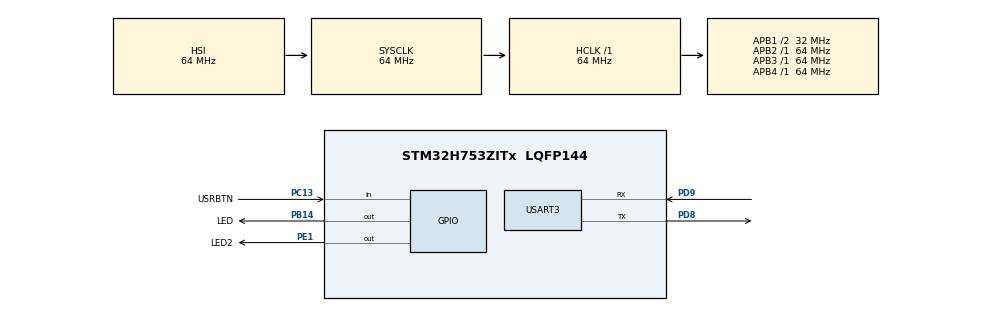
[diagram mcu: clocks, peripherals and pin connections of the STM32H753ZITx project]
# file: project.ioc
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CORTEX_M7.default_mode_Activation=1
Mcu.Family=STM32H7
Mcu.Name=STM32H753ZITx
Mcu.Package=LQFP144
NVIC.PriorityGroup=NVIC_PRIORITYGROUP_4
PB14.GPIO_Label=LED
PB14.Signal=GPIO_Output
PC13.GPIO_Label=USRBTN
PC13.Signal=GPIO_Input
PD8.Mode=Asynchronous
PD8.Signal=USART3_TX
PD9.Mode=Asynchronous
PD9.Signal=USART3_RX
PE1.GPIO_Label=LED2
PE1.Signal=GPIO_Output
ProjectManager.HeapSize=0x200
ProjectManager.StackSize=0x400
ProjectManager.TargetToolchain=CMake
RCC.ADCFreq_Value=129000000
RCC.APB1Freq_Value=32000000
RCC.APB2Freq_Value=64000000
RCC.APB3Freq_Value=64000000
RCC.APB4Freq_Value=64000000
RCC.CortexFreq_Value=64000000
RCC.D2PPRE1=RCC_APB1_DIV2
RCC.HCLKFreq_Value=64000000
RCC.SYSCLKFreq_VALUE=64000000
RCC.USBFreq_Value=129000000
USART3.SwapParam=ADVFEATURE_SWAP_DISABLE
USART3.VirtualMode-Asynchronous=VM_ASYNC
VP_MEMORYMAP_VS_MEMORYMAP.Mode=CurAppReg
board=custom

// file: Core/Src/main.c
/* USER CODE BEGIN Header */
/**
 ******************************************************************************
 * @file           : main.c
 * @brief          : Main program body
 ******************************************************************************
 * @attention
 *
 * Copyright (c) 2026 STMicroelectronics.
 * All rights reserved.
 *
 * This software is licensed under terms that can be found in the LICENSE file
 * in the root directory of this software component.
 * If no LICENSE file comes with this software, it is provided AS-IS.
 *
 ******************************************************************************
 */
/* USER CODE END Header */
#include "main.h"

/* USER CODE BEGIN Includes */
#include <stdio.h>
/* USER CODE END Includes */

UART_HandleTypeDef huart3;

void SystemClock_Config(void);
static void MPU_Config(void);
static void MX_GPIO_Init(void);
static void MX_USART3_UART_Init(void);

/* USER CODE BEGIN 0 */
int _write(int file, char* ptr, int len) {
    HAL_UART_Transmit(&huart3, ptr, len, HAL_MAX_DELAY);
    return len;
}

void regVersion(void) {
    MX_USART3_UART_Init();

    __HAL_RCC_GPIOB_CLK_ENABLE();
    __HAL_RCC_GPIOC_CLK_ENABLE();
    __HAL_RCC_GPIOE_CLK_ENABLE();

    uint32_t moder = GPIOB->MODER;
    moder &= ~(1 << 29);
    moder |= 1 << 28;
    GPIOB->MODER = moder;

    moder = GPIOC->MODER;
    moder &= ~(1 << 27);
    moder &= ~(1 << 26);
    GPIOC->MODER = moder;

    moder = GPIOE->MODER;
    moder &= ~(1 << 3);
    moder |= 1 << 2;
    GPIOE->MODER = moder;

    uint32_t lastTime = 0;
    int lastState = 0;

    while(1) {
        if(HAL_GetTick() - lastTime > 1000) {
            lastTime = HAL_GetTick();
            if(lastState) GPIOB->ODR |= 1 << 14;
            else GPIOB->ODR &= ~(1 << 14);
            lastState = !lastState;

            printf("Hello World\n");
        }

        if(GPIOC->IDR & (1 << 13)) GPIOE->ODR |= 1 << 1;
        else GPIOE->ODR &= ~(1 << 1);
    }
}

/* USER CODE END 0 */

int main(void) {

    /* MPU Configuration--------------------------------------------------------*/
    MPU_Config();

    /* MCU Configuration--------------------------------------------------------*/

    /* Reset of all peripherals, Initializes the Flash interface and the Systick. */
    HAL_Init();

    /* Configure the system clock */
    SystemClock_Config();

    /* USER CODE BEGIN SysInit */

    // Uncomment this function to run the register-direct based prorgam instead
    // regVersion();

    /* USER CODE END SysInit */

    /* Initialize all configured peripherals */
    MX_GPIO_Init();
    MX_USART3_UART_Init();
    /* USER CODE BEGIN 2 */

    uint32_t lastTime = 0;
    /* USER CODE END 2 */

    /* Infinite loop */
    /* USER CODE BEGIN WHILE */
    while(1) {
        if(HAL_GetTick() - lastTime > 1000) {
            lastTime = HAL_GetTick();
            HAL_GPIO_TogglePin(LED_GPIO_Port, LED_Pin);
            printf("Hello World!\n");
        }

        if(HAL_GPIO_ReadPin(USRBTN_GPIO_Port, USRBTN_Pin) == GPIO_PIN_SET)
            HAL_GPIO_WritePin(LED2_GPIO_Port, LED2_Pin, GPIO_PIN_SET);
        else HAL_GPIO_WritePin(LED2_GPIO_Port, LED2_Pin, GPIO_PIN_RESET);
        /* USER CODE END WHILE */

    }
}

void SystemClock_Config(void) {
    RCC_OscInitTypeDef RCC_OscInitStruct = {0};
    RCC_ClkInitTypeDef RCC_ClkInitStruct = {0};

    /** Supply configuration update enable
     */
    HAL_PWREx_ConfigSupply(PWR_LDO_SUPPLY);

    /** Configure the main internal regulator output voltage
     */
    __HAL_PWR_VOLTAGESCALING_CONFIG(PWR_REGULATOR_VOLTAGE_SCALE3);

    while(!__HAL_PWR_GET_FLAG(PWR_FLAG_VOSRDY)) {}

    /** Initializes the RCC Oscillators according to the specified parameters
     * in the RCC_OscInitTypeDef structure.
     */
    RCC_OscInitStruct.OscillatorType = RCC_OSCILLATORTYPE_HSI;
    RCC_OscInitStruct.HSIState = RCC_HSI_DIV1;
    RCC_OscInitStruct.HSICalibrationValue = RCC_HSICALIBRATION_DEFAULT;
    RCC_OscInitStruct.PLL.PLLState = RCC_PLL_NONE;
    if(HAL_RCC_OscConfig(&RCC_OscInitStruct) != HAL_OK) {
        Error_Handler();
    }

    /** Initializes the CPU, AHB and APB buses clocks
     */
    RCC_ClkInitStruct.ClockType = RCC_CLOCKTYPE_HCLK | RCC_CLOCKTYPE_SYSCLK | RCC_CLOCKTYPE_PCLK1 |
        RCC_CLOCKTYPE_PCLK2 | RCC_CLOCKTYPE_D3PCLK1 | RCC_CLOCKTYPE_D1PCLK1;
    RCC_ClkInitStruct.SYSCLKSource = RCC_SYSCLKSOURCE_HSI;
    RCC_ClkInitStruct.SYSCLKDivider = RCC_SYSCLK_DIV1;
    RCC_ClkInitStruct.AHBCLKDivider = RCC_HCLK_DIV1;
    RCC_ClkInitStruct.APB3CLKDivider = RCC_APB3_DIV1;
    RCC_ClkInitStruct.APB1CLKDivider = RCC_APB1_DIV2;
    RCC_ClkInitStruct.APB2CLKDivider = RCC_APB2_DIV1;
    RCC_ClkInitStruct.APB4CLKDivider = RCC_APB4_DIV1;

    if(HAL_RCC_ClockConfig(&RCC_ClkInitStruct, FLASH_LATENCY_1) != HAL_OK) {
        Error_Handler();
    }
}

static void MX_USART3_UART_Init(void) {

    huart3.Instance = USART3;
    huart3.Init.BaudRate = 115200;
    huart3.Init.WordLength = UART_WORDLENGTH_8B;
    huart3.Init.StopBits = UART_STOPBITS_1;
    huart3.Init.Parity = UART_PARITY_NONE;
    huart3.Init.Mode = UART_MODE_TX_RX;
    huart3.Init.HwFlowCtl = UART_HWCONTROL_NONE;
    huart3.Init.OverSampling = UART_OVERSAMPLING_16;
    huart3.Init.OneBitSampling = UART_ONE_BIT_SAMPLE_DISABLE;
    huart3.Init.ClockPrescaler = UART_PRESCALER_DIV1;
    huart3.AdvancedInit.AdvFeatureInit = UART_ADVFEATURE_NO_INIT;
    if(HAL_UART_Init(&huart3) != HAL_OK) {
        Error_Handler();
    }
    if(HAL_UARTEx_SetTxFifoThreshold(&huart3, UART_TXFIFO_THRESHOLD_1_8) != HAL_OK) {
        Error_Handler();
    }
    if(HAL_UARTEx_SetRxFifoThreshold(&huart3, UART_RXFIFO_THRESHOLD_1_8) != HAL_OK) {
        Error_Handler();
    }
    if(HAL_UARTEx_DisableFifoMode(&huart3) != HAL_OK) {
        Error_Handler();
    }
}

static void MX_GPIO_Init(void) {
    GPIO_InitTypeDef GPIO_InitStruct = {0};

    /* GPIO Ports Clock Enable */
    __HAL_RCC_GPIOC_CLK_ENABLE();
    __HAL_RCC_GPIOB_CLK_ENABLE();
    __HAL_RCC_GPIOD_CLK_ENABLE();
    __HAL_RCC_GPIOE_CLK_ENABLE();

    /*Configure GPIO pin Output Level */
    HAL_GPIO_WritePin(LED_GPIO_Port, LED_Pin, GPIO_PIN_RESET);

    /*Configure GPIO pin Output Level */
    HAL_GPIO_WritePin(LED2_GPIO_Port, LED2_Pin, GPIO_PIN_RESET);

    /*Configure GPIO pin : USRBTN_Pin */
    GPIO_InitStruct.Pin = USRBTN_Pin;
    GPIO_InitStruct.Mode = GPIO_MODE_INPUT;
    GPIO_InitStruct.Pull = GPIO_NOPULL;
    HAL_GPIO_Init(USRBTN_GPIO_Port, &GPIO_InitStruct);

    /*Configure GPIO pin : LED_Pin */
    GPIO_InitStruct.Pin = LED_Pin;
    GPIO_InitStruct.Mode = GPIO_MODE_OUTPUT_PP;
    GPIO_InitStruct.Pull = GPIO_NOPULL;
    GPIO_InitStruct.Speed = GPIO_SPEED_FREQ_LOW;
    HAL_GPIO_Init(LED_GPIO_Port, &GPIO_InitStruct);

    /*Configure GPIO pin : LED2_Pin */
    GPIO_InitStruct.Pin = LED2_Pin;
    GPIO_InitStruct.Mode = GPIO_MODE_OUTPUT_PP;
    GPIO_InitStruct.Pull = GPIO_NOPULL;
    GPIO_InitStruct.Speed = GPIO_SPEED_FREQ_LOW;
    HAL_GPIO_Init(LED2_GPIO_Port, &GPIO_InitStruct);

}

/* MPU Configuration */

void MPU_Config(void) {
    MPU_Region_InitTypeDef MPU_InitStruct = {0};

    /* Disables the MPU */
    HAL_MPU_Disable();

    /** Initializes and configures the Region and the memory to be protected
     */
    MPU_InitStruct.Enable = MPU_REGION_ENABLE;
    MPU_InitStruct.Number = MPU_REGION_NUMBER0;
    MPU_InitStruct.BaseAddress = 0x0;
    MPU_InitStruct.Size = MPU_REGION_SIZE_4GB;
    MPU_InitStruct.SubRegionDisable = 0x87;
    MPU_InitStruct.TypeExtField = MPU_TEX_LEVEL0;
    MPU_InitStruct.AccessPermission = MPU_REGION_NO_ACCESS;
    MPU_InitStruct.DisableExec = MPU_INSTRUCTION_ACCESS_DISABLE;
    MPU_InitStruct.IsShareable = MPU_ACCESS_SHAREABLE;
    MPU_InitStruct.IsCacheable = MPU_ACCESS_NOT_CACHEABLE;
    MPU_InitStruct.IsBufferable = MPU_ACCESS_NOT_BUFFERABLE;

    HAL_MPU_ConfigRegion(&MPU_InitStruct);
    /* Enables the MPU */
    HAL_MPU_Enable(MPU_PRIVILEGED_DEFAULT);
}

void Error_Handler(void) {
    __disable_irq();
    while(1) {}
}
